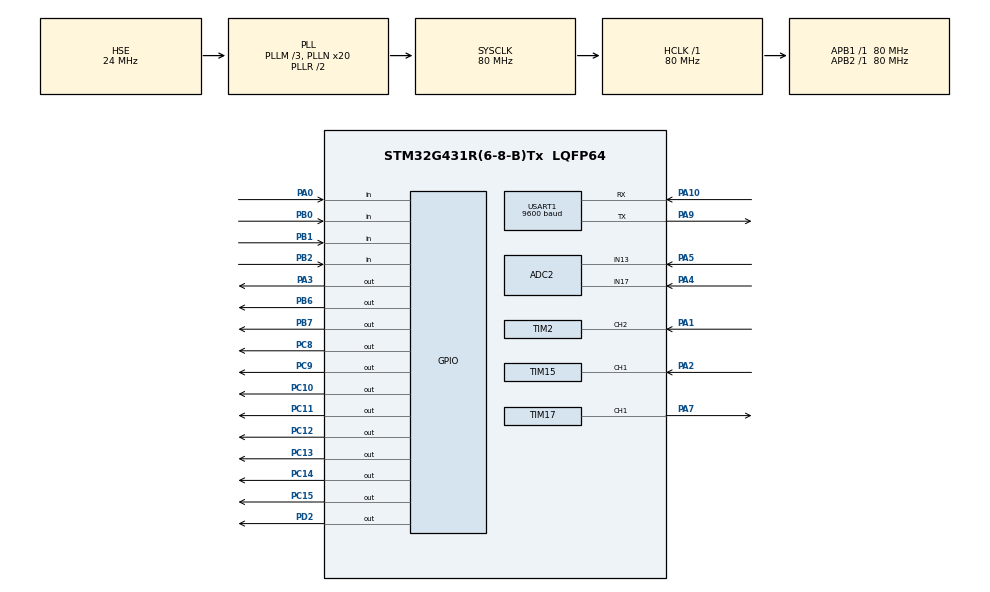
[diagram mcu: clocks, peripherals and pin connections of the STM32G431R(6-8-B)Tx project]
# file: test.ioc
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ADC2.Channel-0\#ChannelRegularConversion=ADC_CHANNEL_13
ADC2.Channel-3\#ChannelRegularConversion=ADC_CHANNEL_17
ADC2.NbrOfConversion=2
ADC2.NbrOfConversionFlag=1
ADC2.OffsetNumber-0\#ChannelRegularConversion=ADC_OFFSET_NONE
ADC2.OffsetNumber-3\#ChannelRegularConversion=ADC_OFFSET_NONE
ADC2.Rank-0\#ChannelRegularConversion=1
ADC2.Rank-3\#ChannelRegularConversion=2
ADC2.SamplingTime-0\#ChannelRegularConversion=ADC_SAMPLETIME_640CYCLES_5
ADC2.SamplingTime-3\#ChannelRegularConversion=ADC_SAMPLETIME_640CYCLES_5
Mcu.Family=STM32G4
Mcu.Name=STM32G431R(6-8-B)Tx
Mcu.Package=LQFP64
NVIC.PriorityGroup=NVIC_PRIORITYGROUP_4
NVIC.TIM1_BRK_TIM15_IRQn=true\:0\:0\:false\:false\:true\:true\:true
NVIC.TIM1_TRG_COM_TIM17_IRQn=true\:0\:0\:false\:false\:true\:true\:true
NVIC.TIM1_UP_TIM16_IRQn=true\:0\:0\:false\:false\:true\:true\:true
NVIC.TIM2_IRQn=true\:0\:0\:false\:false\:true\:true\:true
NVIC.TIM3_IRQn=true\:0\:0\:false\:false\:true\:true\:true
NVIC.TIM4_IRQn=true\:0\:0\:false\:false\:true\:true\:true
NVIC.USART1_IRQn=true\:0\:0\:false\:false\:true\:true\:true
PA0.GPIO_PuPd=GPIO_PULLUP
PA0.Signal=GPIO_Input
PA1.Signal=S_TIM2_CH2
PA10.Mode=Asynchronous
PA10.Signal=USART1_RX
PA13.Mode=Serial_Wire
PA13.Signal=SYS_JTMS-SWDIO
PA14.Mode=Serial_Wire
PA14.Signal=SYS_JTCK-SWCLK
PA2.Signal=S_TIM15_CH1
PA3.Signal=GPIO_Output
PA4.Mode=IN17-Single-Ended
PA4.Signal=ADC2_IN17
PA5.Mode=IN13-Single-Ended
PA5.Signal=ADC2_IN13
PA7.Signal=S_TIM17_CH1
PA9.Mode=Asynchronous
PA9.Signal=USART1_TX
PB0.GPIO_PuPd=GPIO_PULLUP
PB0.Signal=GPIO_Input
PB1.GPIO_PuPd=GPIO_PULLUP
PB1.Signal=GPIO_Input
PB2.GPIO_PuPd=GPIO_PULLUP
PB2.Signal=GPIO_Input
PB6.Signal=GPIO_Output
PB7.GPIO_Speed=GPIO_SPEED_FREQ_HIGH
PB7.Signal=GPIO_Output
PC10.PinState=GPIO_PIN_SET
PC10.Signal=GPIO_Output
PC11.PinState=GPIO_PIN_SET
PC11.Signal=GPIO_Output
PC12.PinState=GPIO_PIN_SET
PC12.Signal=GPIO_Output
PC13.PinState=GPIO_PIN_SET
PC13.Signal=GPIO_Output
PC14-OSC32_IN.PinState=GPIO_PIN_SET
PC14-OSC32_IN.Signal=GPIO_Output
PC15-OSC32_OUT.PinState=GPIO_PIN_SET
PC15-OSC32_OUT.Signal=GPIO_Output
PC8.PinState=GPIO_PIN_SET
PC8.Signal=GPIO_Output
PC9.PinState=GPIO_PIN_SET
PC9.Signal=GPIO_Output
PD2.Signal=GPIO_Output
PF0-OSC_IN.Mode=HSE-External-Oscillator
PF0-OSC_IN.Signal=RCC_OSC_IN
PF1-OSC_OUT.Mode=HSE-External-Oscillator
PF1-OSC_OUT.Signal=RCC_OSC_OUT
ProjectManager.HeapSize=0x200
ProjectManager.StackSize=0x400
ProjectManager.TargetToolchain=MDK-ARM V5.32
RCC.ADC12Freq_Value=80000000
RCC.AHBFreq_Value=80000000
RCC.APB1Freq_Value=80000000
RCC.APB1TimFreq_Value=80000000
RCC.APB2Freq_Value=80000000
RCC.APB2TimFreq_Value=80000000
RCC.CortexFreq_Value=80000000
RCC.EXTERNAL_CLOCK_VALUE=12288000
RCC.HCLKFreq_Value=80000000
RCC.HSE_VALUE=24000000
RCC.HSI48_VALUE=48000000
RCC.HSI_VALUE=16000000
RCC.LSE_VALUE=32768
RCC.PLLM=RCC_PLLM_DIV3
RCC.PLLN=20
RCC.PLLSourceVirtual=RCC_PLLSOURCE_HSE
RCC.RTCClockSelection=RCC_RTCCLKSOURCE_HSE_DIV32
RCC.SYSCLKFreq_VALUE=80000000
RCC.SYSCLKSource=RCC_SYSCLKSOURCE_PLLCLK
RCC.USBFreq_Value=80000000
RCC.VCOOutputFreq_Value=160000000
RTC.AsynchPrediv=125
RTC.Hours=23
RTC.Minutes=59
RTC.Month=RTC_MONTH_MARCH
RTC.Seconds=55
RTC.SynchPrediv=6000
RTC.WeekDay=RTC_WEEKDAY_FRIDAY
RTC.Year=24
SH.S_TIM15_CH1.0=TIM15_CH1,Input_Capture1_from_TI1
SH.S_TIM17_CH1.0=TIM17_CH1,PWM Generation1 CH1
SH.S_TIM2_CH2.0=TIM2_CH2,Input_Capture2_from_TI2
TIM15.Channel-Input_Capture1_from_TI1=TIM_CHANNEL_1
TIM15.Prescaler=80-1
TIM16.PeriodNoDither=65535
TIM16.Prescaler=80-1
TIM17.Channel=TIM_CHANNEL_1
TIM17.PeriodNoDither=100
TIM17.Prescaler=800-1
TIM17.PulseNoDither_1=50
TIM2.Channel-Input_Capture2_from_TI2=TIM_CHANNEL_2
TIM2.CounterMode=TIM_COUNTERMODE_UP
TIM2.PeriodNoDither=65535
TIM2.Prescaler=80-1
TIM3.Prescaler=80-1
TIM4.PeriodNoDither=10000-1
TIM4.Prescaler=80-1
USART1.BaudRate=9600
USART1.VirtualMode-Asynchronous=VM_ASYNC
VP_RTC_VS_RTC_Activate.Mode=RTC_Enabled
VP_RTC_VS_RTC_Calendar.Mode=RTC_Calendar
VP_SYS_VS_DBSignals.Mode=DisableDeadBatterySignals
VP_TIM15_VS_ClockSourceINT.Mode=Internal
VP_TIM16_VS_ClockSourceINT.Mode=Enable_Timer
VP_TIM17_VS_ClockSourceINT.Mode=Enable_Timer
VP_TIM2_VS_ClockSourceINT.Mode=Internal
VP_TIM3_VS_ClockSourceINT.Mode=Internal
VP_TIM4_VS_ClockSourceINT.Mode=Internal
board=custom

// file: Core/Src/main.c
/* USER CODE BEGIN Header */
/**
 ******************************************************************************
 * @file           : main.c
 * @brief          : Main program body
 ******************************************************************************
 * @attention
 *
 * Copyright (c) 2024 STMicroelectronics.
 * All rights reserved.
 *
 * This software is licensed under terms that can be found in the LICENSE file
 * in the root directory of this software component.
 * If no LICENSE file comes with this software, it is provided AS-IS.
 *
 ******************************************************************************
 */
/* USER CODE END Header */
#include "main.h"
#include "adc.h"
#include "rtc.h"
#include "tim.h"
#include "usart.h"
#include "gpio.h"

/* USER CODE BEGIN Includes */
#include "LED.h"
#include "lcd.h"
#include "stdio.h"
#include "string.h"
#include "Key.h"
#include "interrupt.h"
#include "badc.h"
#include "i2c - hal.h"
#include "PWM.h"
#include "seg_LED.h"
#include "adc_key.h"
#include "ds18b20.h"
#include "dht11.h"
/* USER CODE END Includes */

/* USER CODE BEGIN PTD */

/*执行速度控制变量*/
__IO uint32_t uwTick_LED_Speed_Ctrl;
__IO uint32_t uwTick_KEY_Speed_Ctrl;
__IO uint32_t uwTick_LCD_Speed_Ctrl;
__IO uint32_t uwTick_RTC_Speed_Ctrl;
__IO uint32_t uwTick_Time_Count;

/* USER CODE END PTD */

/* USER CODE BEGIN PD */
/*全局变量区*/
uint8_t ucLED;

uint8_t LCD_String_Disp[21]; // 显示屏显示数据存储数组
uint8_t LCD_Disp_Change = 0; // 显示屏切换界面变量
uint8_t LCD_Line_Change = 0; // 显示屏选择行 1-第一行 2-第二行 3-第三行 默认为0不选择 无高亮文本

uint8_t EEPROM_Save[4] = {10, 10}; // EEPROM芯片中存取的数据
uint8_t EEPROM_Disp[4] = {10, 10}; // EEPROM数据显示数组

uint8_t segBuff[3]; // Seg数码管显示数组

ADC2_ChannelValues adcValues; // ADC多通道扫描数值结构体

float V1_Value, V2_Value;
uint16_t F1_Value, F2_Value;

uint8_t V_LED_Num = 1, F_LED_Num = 2;           // 电压指示灯 频率指示灯
uint8_t V_LED_Num_Buff = 1, F_LED_Num_Buff = 2; // 电压指示灯缓冲区 频率指示灯缓冲区
uint8_t V_LED_Flag = 0, F_LED_Flag = 0;         // LED是否亮灭标志位

uint8_t PA7_Change_flag = 0; // 0跟随PA1 1跟随PA2

// 用于存储时间和日期的结构体
RTC_TimeTypeDef RTC_Time = {0};
RTC_DateTypeDef RTC_Date = {0};
char dateTimeBuffer[50]; // 存储日期时间字符串

/*拓展变量区*/
extern uint8_t single_key_flag[4]; // 按键单击
extern uint8_t double_key_flag[4]; // 按键双击
extern uint8_t long_key_flag[4];   // 按键长按
// extern uint16_t frq1, frq2;        // 输入捕获测量的频率
// extern float duty1, duty2;         // 占空比
extern uint32_t RP[4];

extern char rxdata[30]; // 串口接收数组
extern uint8_t rxdat;
extern unsigned char rx_pointer;

/* USER CODE END PD */

/* USER CODE BEGIN PM */

/*子函数声明区*/

void LCD_Proc(void);
void KEY_Proc(void);
void LED_Proc(void);
void RTC_Proc(void);
void ADC_Proc(void);
void USART_Proc(void);

/* USER CODE END PM */

void SystemClock_Config(void);

int main(void)
{

  /* MCU Configuration--------------------------------------------------------*/

  /* Reset of all peripherals, Initializes the Flash interface and the Systick. */
  HAL_Init();

  /* Configure the system clock */
  SystemClock_Config();

  /* Initialize all configured peripherals */
  MX_GPIO_Init();
  MX_TIM2_Init();
  MX_TIM16_Init();
  MX_TIM17_Init();
  MX_TIM3_Init();
  MX_TIM4_Init();
  MX_ADC2_Init();
  MX_USART1_UART_Init();
  MX_RTC_Init();
  MX_TIM15_Init();
  /* USER CODE BEGIN 2 */

  /*LED灯初始化*/
  LED_Init();

  /*LCD显示屏初始化*/
  LCD_Init();
  LCD_Clear(Black);
  LCD_SetBackColor(Black);
  LCD_SetTextColor(White);

  /*定时器4基本中断开启,按键中断定时器 时间到就进中断检测按键是否按下*/
  HAL_TIM_Base_Start_IT(&htim4);

  /*定时器17通道1 PWM生成,PA7 引脚PWM生成定时器*/
  HAL_TIM_PWM_Start(&htim17, TIM_CHANNEL_1);

  /*定时器15通道1 输入捕获中断开启,PA2引脚*/
  HAL_TIM_IC_Start_IT(&htim15, TIM_CHANNEL_1);

  /*定时器2通道2 输入捕获中断开启,PA1引脚*/
  HAL_TIM_IC_Start_IT(&htim2, TIM_CHANNEL_2);

  // HAL_ADCEx_Calibration_Start(&hadc1, ADC_SINGLE_ENDED); // 校准ADC1，PB12引脚
  HAL_ADCEx_Calibration_Start(&hadc2, ADC_SINGLE_ENDED); // 校准ADC2

  /********************************串口接收中断开启***********************************************************/
  HAL_UART_Receive_IT(&huart1, &rxdat, 1);

  /********************************EEPROM存储读取***********************************************************/
  I2C_24c02_Read((uint8_t *)&EEPROM_Save[3], 0x37, 1); // 读取一次判断是否第一次上电

  if (EEPROM_Save[3] != 9) // 初次上电 占空比为10，10
  {
    EEPROM_Save[3] = 9; // 将该位的值改为9写入eeprom中 用于判断非第一次上电 确保再次上电读取eeprom中设置的阈值 以免第一次直接赋值0
    I2C_24c02_Write((uint8_t *)&EEPROM_Save[3], 0x37, 1);
    HAL_Delay(10);
    I2C_24c02_Write((uint8_t *)EEPROM_Save, 0x00, 2); // 将阈值写入EEPROM中
  }
  else // 再次上电读取eeprom中设置的阈值 更新显示的阈
  {
    I2C_24c02_Read(EEPROM_Save, 0x00, 2); // 读取EEPROM中的值
    HAL_Delay(10);
    EEPROM_Disp[0] = EEPROM_Save[0];
    EEPROM_Disp[1] = EEPROM_Save[1];
  }
  /********************************EEPROM存储读取***********************************************************/

  /* USER CODE END 2 */

  /* Infinite loop */
  while (1)
  {

    /* USER CODE BEGIN 3 */
    /*代码写在该行下面 否则会被初始化*/

    LCD_Proc();
    KEY_Proc();
    LED_Proc();
    RTC_Proc();
    ADC_Proc();

    if (rx_pointer != 0)
    {
      int temp = rx_pointer;
      HAL_Delay(1);
      if (temp == rx_pointer)
        USART_Proc(); // 完成接收
    }
  }
  /* USER CODE END 3 */
}

void SystemClock_Config(void)
{
  RCC_OscInitTypeDef RCC_OscInitStruct = {0};
  RCC_ClkInitTypeDef RCC_ClkInitStruct = {0};

  /** Configure the main internal regulator output voltage
   */
  HAL_PWREx_ControlVoltageScaling(PWR_REGULATOR_VOLTAGE_SCALE1);
  /** Initializes the RCC Oscillators according to the specified parameters
   * in the RCC_OscInitTypeDef structure.
   */
  RCC_OscInitStruct.OscillatorType = RCC_OSCILLATORTYPE_HSE;
  RCC_OscInitStruct.HSEState = RCC_HSE_ON;
  RCC_OscInitStruct.PLL.PLLState = RCC_PLL_ON;
  RCC_OscInitStruct.PLL.PLLSource = RCC_PLLSOURCE_HSE;
  RCC_OscInitStruct.PLL.PLLM = RCC_PLLM_DIV3;
  RCC_OscInitStruct.PLL.PLLN = 20;
  RCC_OscInitStruct.PLL.PLLP = RCC_PLLP_DIV2;
  RCC_OscInitStruct.PLL.PLLQ = RCC_PLLQ_DIV2;
  RCC_OscInitStruct.PLL.PLLR = RCC_PLLR_DIV2;
  if (HAL_RCC_OscConfig(&RCC_OscInitStruct) != HAL_OK)
  {
    Error_Handler();
  }
  /** Initializes the CPU, AHB and APB buses clocks
   */
  RCC_ClkInitStruct.ClockType = RCC_CLOCKTYPE_HCLK | RCC_CLOCKTYPE_SYSCLK | RCC_CLOCKTYPE_PCLK1 | RCC_CLOCKTYPE_PCLK2;
  RCC_ClkInitStruct.SYSCLKSource = RCC_SYSCLKSOURCE_PLLCLK;
  RCC_ClkInitStruct.AHBCLKDivider = RCC_SYSCLK_DIV1;
  RCC_ClkInitStruct.APB1CLKDivider = RCC_HCLK_DIV1;
  RCC_ClkInitStruct.APB2CLKDivider = RCC_HCLK_DIV1;

  if (HAL_RCC_ClockConfig(&RCC_ClkInitStruct, FLASH_LATENCY_2) != HAL_OK)
  {
    Error_Handler();
  }
}

/* USER CODE BEGIN 4 */

/*****************************************LED灯控制函数***************************************************/
void LED_Proc(void)
{
  if ((uwTick - uwTick_LED_Speed_Ctrl) < 200)
    return;
  uwTick_LED_Speed_Ctrl = uwTick; // 200ms执行一次

  if (V_LED_Flag)
  {
    ucLED |= 1 << (V_LED_Num - 1);
  }
  else
    ucLED &= 1 << (F_LED_Num - 1);

  if (F_LED_Flag)
  {
    ucLED |= 1 << (F_LED_Num - 1);
  }
  else
    ucLED &= 1 << (V_LED_Num - 1);
  // ucLED ^= 0x01;  //异或运算 相同为0，不同为1

  LED_Disp(ucLED);
}

/*****************************************显示屏控制函数***************************************************/
void LCD_Proc(void)
{
  if ((uwTick - uwTick_LCD_Speed_Ctrl) < 100)
    return;
  uwTick_LCD_Speed_Ctrl = uwTick;

  V1_Value = Return_3_3(adcValues.AdcChannel17Value);
  V2_Value = Return_3_3(adcValues.AdcChannel13Value);
  F1_Value = RP[2];
  F2_Value = RP[3];

  if (V1_Value > V2_Value)
    V_LED_Flag = 1;
  else
    V_LED_Flag = 0;

  if (F1_Value > F2_Value)
    F_LED_Flag = 1;
  else
    F_LED_Flag = 0;

  if (PA7_Change_flag)
    PWM_Set_Frequency(&htim17, TIM_CHANNEL_1, F2_Value);
  else
    PWM_Set_Frequency(&htim17, TIM_CHANNEL_1, F1_Value);

  if (LCD_Disp_Change == 0)
  {
    LCD_SetTextColor(White); // 初始文本颜色 防止受上一个对文本颜色的改变影响

    memset(LCD_String_Disp, 0, sizeof(LCD_String_Disp));
    sprintf((char *)LCD_String_Disp, "DATA  ");
    LCD_DisplayStringAtLineColumn(Line2, Col5, LCD_String_Disp);

    memset(LCD_String_Disp, 0, sizeof(LCD_String_Disp));
    sprintf((char *)LCD_String_Disp, "V1:%.1fV  ", V1_Value);
    LCD_DisplayStringAtLineColumn(Line4, Col5, LCD_String_Disp);

    memset(LCD_String_Disp, 0, sizeof(LCD_String_Disp));
    sprintf((char *)LCD_String_Disp, "V2:%.1fV  ", V2_Value);
    LCD_DisplayStringAtLineColumn(Line5, Col5, LCD_String_Disp);

    memset(LCD_String_Disp, 0, sizeof(LCD_String_Disp));
    sprintf((char *)LCD_String_Disp, "F1:%dHz  ", F1_Value);
    LCD_DisplayStringAtLineColumn(Line6, Col5, LCD_String_Disp);

    memset(LCD_String_Disp, 0, sizeof(LCD_String_Disp));
    sprintf((char *)LCD_String_Disp, "F2:%dHz  ", F2_Value);
    LCD_DisplayStringAtLineColumn(Line7, Col5, LCD_String_Disp);
  }
  else
  {
    LCD_SetTextColor(White); // 初始文本颜色 防止受上一个对文本颜色的改变影响

    memset(LCD_String_Disp, 0, sizeof(LCD_String_Disp));
    sprintf((char *)LCD_String_Disp, "PARA  ");
    LCD_DisplayStringAtLineColumn(Line2, Col5, LCD_String_Disp);

    memset(LCD_String_Disp, 0, sizeof(LCD_String_Disp));
    sprintf((char *)LCD_String_Disp, "VD:LD%d  ", V_LED_Num_Buff);
    LCD_DisplayStringAtLineColumn(Line4, Col5, LCD_String_Disp);

    memset(LCD_String_Disp, 0, sizeof(LCD_String_Disp));
    sprintf((char *)LCD_String_Disp, "FD:LD%d  ", F_LED_Num_Buff);
    LCD_DisplayStringAtLineColumn(Line5, Col5, LCD_String_Disp);
  }
}

/*****************************************按键控制函数***************************************************/

void KEY_Proc(void)
{
  if ((uwTick - uwTick_KEY_Speed_Ctrl) < 50)
    return;
  uwTick_KEY_Speed_Ctrl = uwTick; // 50ms执行一次

  if (single_key_flag[0] == 1) // 按键1单击刷新显示屏
  {
    LCD_Disp_Change ^= 1;     // 0-数据界面 1-参数界面
    if (LCD_Disp_Change == 0) // 返回主界面时保存设置的值
    {
      V_LED_Num = V_LED_Num_Buff;
      F_LED_Num = F_LED_Num_Buff;
      ucLED &= (1 << (V_LED_Num - 1) | 1 << (F_LED_Num - 1));
    }
    LCD_Clear(Black);
    single_key_flag[0] = 0;
  }

  if (single_key_flag[1] == 1) // 按键2单击
  {
    if (LCD_Disp_Change) // 参数界面
    {
      // 电压输出指示灯调整 LD1加到LD8 循环 不可与频率指示灯重复
      // 退出参数界面时生效
      V_LED_Num_Buff++;

      if (V_LED_Num_Buff > 8)
        V_LED_Num_Buff = 1;

      if (V_LED_Num_Buff == F_LED_Num_Buff)
      {
        V_LED_Num_Buff++;
        if (V_LED_Num_Buff > 8)
          V_LED_Num_Buff = 1;
      }
    }
    single_key_flag[1] = 0;
  }

  if (single_key_flag[2] == 1) // 按键3单击
  {
    if (LCD_Disp_Change) // 参数界面
    {
      // 频率输出指示灯调整 LD1加到LD8 循环 不可与电压指示灯重复
      // 退出参数界面时生效
      F_LED_Num_Buff++;

      if (F_LED_Num_Buff > 8)
        F_LED_Num_Buff = 1;

      if (F_LED_Num_Buff == V_LED_Num_Buff)
      {
        F_LED_Num_Buff++;
        if (F_LED_Num_Buff > 8)
          F_LED_Num_Buff = 1;
      }
    }
    single_key_flag[2] = 0;
  }

  if (single_key_flag[3] == 1) // 按键4单击
  {
    // 切换PA7跟随状态  在PULS1 和 PULS2中循环切换
    PA7_Change_flag ^= 0x01;
    single_key_flag[3] = 0;
  }
}

/*****************************************ADC处理函数***************************************************/

void ADC_Proc(void)
{

  adcValues = Read_ADC2_Channels();

  // ADC_Key = Scan_Btn(adcValues.AdcChannel13Value); // 中位值滤波获取ADC_Key的键值
}

/*****************************************串口接收函数***************************************************/

void USART_Proc(void)
{

  if (rx_pointer > 0)
  {
    if (rx_pointer == 1)
    {
      if (rxdata[0] == 'C')
      {
        // printf("F:%.2f\r\n", duty1);
      }

      else if (rxdata[0] == 'S')
      {
        printf("ADC1:%d\r\n", 1);
      }
      else
      {
        printf("Error\r\n");
      }
    }

    rx_pointer = 0;
    memset(rxdata, 0, 30);
  }
}

/*RTC时钟配置*/

void RTC_Proc(void)
{
  if ((uwTick - uwTick_RTC_Speed_Ctrl) < 1000)
    return;
  uwTick_RTC_Speed_Ctrl = uwTick; // 1s执行一次

  // 获取当前时间和日期
  HAL_RTC_GetTime(&hrtc, &RTC_Time, RTC_FORMAT_BIN);
  HAL_RTC_GetDate(&hrtc, &RTC_Date, RTC_FORMAT_BIN);

  // printf("Date: %02d-%02d-%02d Time: %02d:%02d:%02d\r\n", RTC_Date.Year, RTC_Date.Month, RTC_Date.Date,
  //        RTC_Time.Hours, RTC_Time.Minutes, RTC_Time.Seconds);
}

/*串口重定向*/
int fputc(int ch, FILE *f)
{
  char c = ch;
  HAL_UART_Transmit(&huart1, (uint8_t *)&c, 1, 50);
  return ch;
}

/* USER CODE END 4 */

void Error_Handler(void)
{
  __disable_irq();
  while (1)
  {
  }
}
